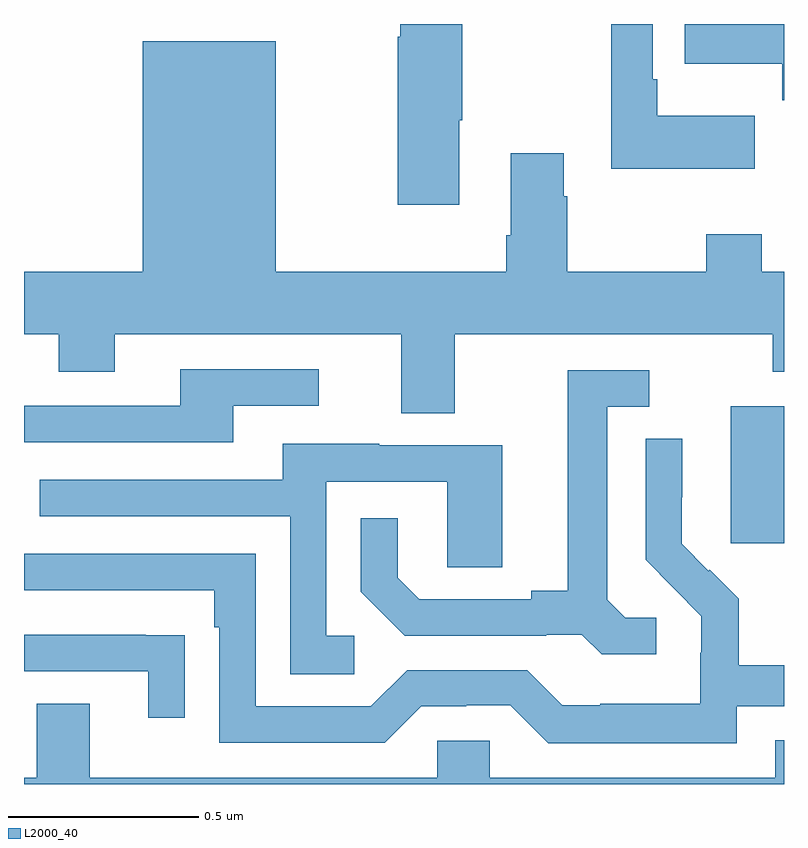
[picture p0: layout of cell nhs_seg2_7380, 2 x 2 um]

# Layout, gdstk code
import gdstk
lib = gdstk.Library(unit=1e-6, precision=1e-09)
def R(c, l, rs):  # rectangles x0, y0, x1, y1
    for r in rs: c.add(gdstk.rectangle(r[:2], r[2:], *l))
def P(c, l, *ps):  # polygons
    for p in ps: c.add(gdstk.Polygon(p, *l))
L2000_40 = (2000, 40)

nhs_seg2_7380 = lib.new_cell('nhs_seg2_7380')
R(nhs_seg2_7380, L2000_40, [(204.86,632.433,205,632.794)])
P(nhs_seg2_7380, L2000_40, [(205,633.8),(204.739,633.8),(204.739,633.695),(204.996,633.695),(204.996,633.599),(205,633.599)],
  [(204.145,633.547),(204.153,633.547),(204.153,633.8),(203.99,633.8),(203.99,633.767),(203.983,633.767),(203.983,633.324),(204.145,633.324)],
  [(204.923,633.559),(204.667,633.559),(204.667,633.655),(204.654,633.655),(204.654,633.8),(204.546,633.8),(204.546,633.419),(204.923,633.419)],
  [(204.133,632.984),(204.97,632.984),(204.97,632.885),(205,632.885),(205,633.148),(204.942,633.148),(204.942,633.247),(204.796,633.247),(204.796,633.148),(204.429,633.148),(204.429,633.347),(204.421,633.347),(204.421,633.46),(204.281,633.46),(204.281,633.244),(204.269,633.244),(204.269,633.148),(203.662,633.148),(203.662,633.754),(203.312,633.754),(203.312,633.148),(203,633.148),(203,632.984),(203.092,632.984),(203.092,632.885),(203.239,632.885),(203.239,632.984),(203.993,632.984),(203.993,632.776),(204.133,632.776)],
  [(203.551,632.796),(203.776,632.796),(203.776,632.892),(203.411,632.892),(203.411,632.796),(203,632.796),(203,632.7),(203.551,632.7)],
  [(204.664,632.238),(204.582,632.238),(204.535,632.285),(204.535,632.793),(204.646,632.793),(204.646,632.889),(204.431,632.889),(204.431,632.309),(204.335,632.309),(204.335,632.286),(204.04,632.286),(203.983,632.343),(203.983,632.5),(203.886,632.5),(203.886,632.306),(204.002,632.19),(204.374,632.19),(204.374,632.193),(204.468,632.193),(204.52,632.141),(204.664,632.141)],
  [(204.876,632.004),(205,632.004),(205,632.113),(204.881,632.113),(204.881,632.287),(204.804,632.364),(204.801,632.361),(204.731,632.432),(204.731,632.554),(204.732,632.554),(204.732,632.708),(204.636,632.708),(204.636,632.39),(204.709,632.317),(204.708,632.316),(204.782,632.242),(204.782,632.145),(204.78,632.145),(204.78,632.011),(204.517,632.011),(204.517,632.007),(204.417,632.007),(204.324,632.1),(204.009,632.1),(203.913,632.004),(203.61,632.004),(203.61,632.406),(203,632.406),(203,632.31),(203.501,632.31),(203.501,632.213),(203.514,632.213),(203.514,631.908),(203.949,631.908),(204.045,632.004),(204.164,632.004),(204.164,632.007),(204.279,632.007),(204.379,631.907),(204.876,631.907)],
  [(203.869,632.19),(203.796,632.19),(203.796,632.595),(204.114,632.595),(204.114,632.371),(204.259,632.371),(204.259,632.691),(203.935,632.691),(203.935,632.695),(203.681,632.695),(203.681,632.601),(203.041,632.601),(203.041,632.505),(203.7,632.505),(203.7,632.089),(203.869,632.089)],
  [(203.423,632.192),(203.321,632.192),(203.321,632.193),(203,632.193),(203,632.097),(203.327,632.097),(203.327,631.974),(203.423,631.974)],
  [(205,631.915),(204.977,631.915),(204.977,631.816),(204.225,631.816),(204.225,631.914),(204.087,631.914),(204.087,631.816),(203.173,631.816),(203.173,632.011),(203.033,632.011),(203.033,631.816),(203,631.816),(203,631.8),(205,631.8)])

lib.write_gds('nhs_seg2_7380.gds')
